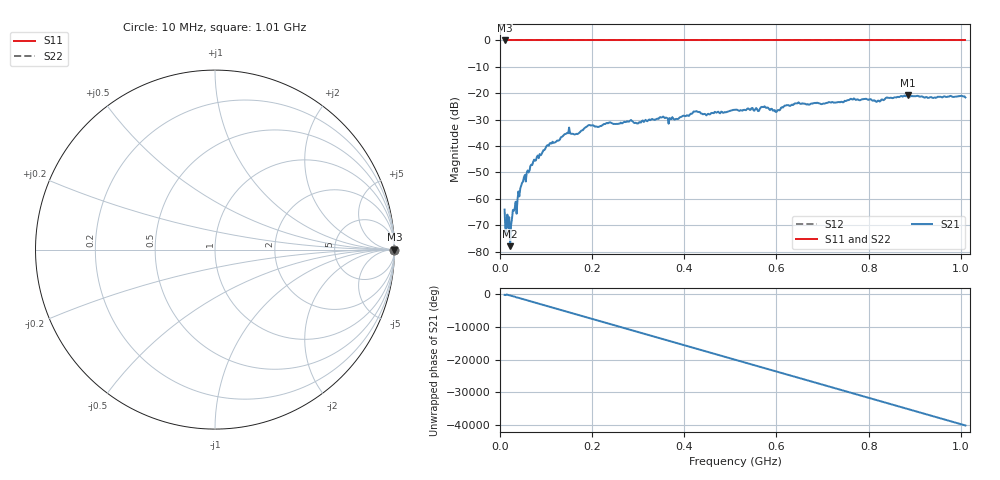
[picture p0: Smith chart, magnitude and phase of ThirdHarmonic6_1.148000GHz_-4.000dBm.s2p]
! 8/16/2025 11:21:32 AM
! C:\ANRITSUVNA\TEMP\TEMP.S2P
! CHANNEL.1
! TR.MEASUREMENT
! RAW.DATA
! RF.CORRECTION.OFF
! AVERAGING.OFF
! IF.BANDWIDTH: 5KHZ
! SWEEPTYPE:  FREQ.SWEEP(Linear)
! Reference Plane Port Info
! PORT:  PORT1  PORT2
! DISTANCE:  0  m  0  m
! TIME:  0  s  0  s
! PHASE.OFFSET:  0  deg.  0  deg.
! LOSS:  0  dB  0  dB
! REF.LOSS:  0  dB  0  dB
! REF.FREQ:  0  Hz  0  Hz
! Power Info
! POWER:  -20  dBm  -20  dBm
! EFF.POWER:  -20  dBm  -20  dBm
! SOURCE.ATTEN:  0  dB  0  dB
! TEST.ATTEN:  0  dB  0  dB
# GHZ S RI R 50.0
! FREQ.GHZ  S11RE  S11IM  S21RE  S21IM  S12RE  S12IM  S22RE  S22IM
!; PortSelection: Port_12
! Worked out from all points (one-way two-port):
!   501 points, 10 MHz to 1.01 GHz, reference 50 ohm
!   highest |S21| = -20.81 dB at 886 MHz (marker M1); lowest = -78.0 dB at 22 MHz (marker M2)
!   lowest |S11| = 0.0 dB at 10 MHz (marker M3)
!   |S11| at or under -10 dB: nowhere
!   |S22| runs from 0.0 to 0.0 dB; largest |S21 - S12| = 1.1
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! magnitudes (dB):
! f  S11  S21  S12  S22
! 10 MHz  0.0  -64.1  0.0  0.0
! 22 MHz  0.0  -78.0  0.0  0.0
! 26 MHz  0.0  -67.5  0.0  0.0
! 30 MHz  0.0  -64.6  0.0  0.0
! 34 MHz  0.0  -61.1  0.0  0.0
! 50 MHz  0.0  -53.6  0.0  0.0
! 70 MHz  0.0  -47.2  0.0  0.0
! 104 MHz  0.0  -39.7  0.0  0.0
! 146 MHz  0.0  -35.1  0.0  0.0
! 166 MHz  0.0  -35.4  0.0  0.0
! 178 MHz  0.0  -34.1  0.0  0.0
! 194 MHz  0.0  -32.0  0.0  0.0
! 344 MHz  0.0  -29.7  0.0  0.0
! 382 MHz  0.0  -29.7  0.0  0.0
! 510 MHz  0.0  -26.3  0.0  0.0
! 572 MHz  0.0  -25.3  0.0  0.0
! 602 MHz  0.0  -26.5  0.0  0.0
! 644 MHz  0.0  -23.8  0.0  0.0
! 678 MHz  0.0  -23.9  0.0  0.0
! 844 MHz  0.0  -21.7  0.0  0.0
! 886 MHz  0.0  -20.8  0.0  0.0
! 1.01 GHz  0.0  -21.6  0.0  0.0
